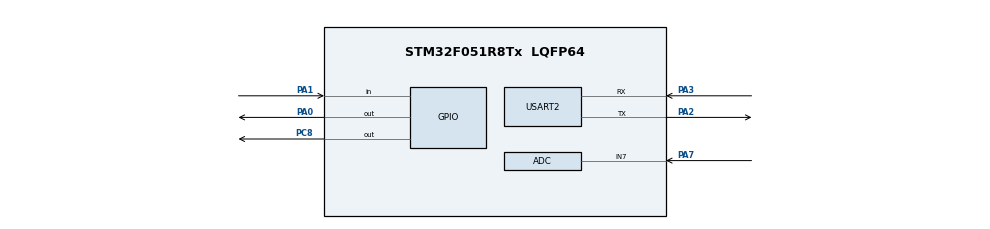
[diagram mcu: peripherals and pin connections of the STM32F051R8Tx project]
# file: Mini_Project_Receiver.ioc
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Mcu.Family=STM32F0
Mcu.Name=STM32F051R8Tx
Mcu.Package=LQFP64
PA0.Signal=GPIO_Output
PA1.GPIO_PuPd=GPIO_PULLDOWN
PA1.Signal=GPIO_Input
PA2.Mode=Asynchronous
PA2.Signal=USART2_TX
PA3.Mode=Asynchronous
PA3.Signal=USART2_RX
PA7.Mode=IN7
PA7.Signal=ADC_IN7
PC8.Signal=GPIO_Output
ProjectManager.HeapSize=0x200
ProjectManager.StackSize=0x400
ProjectManager.TargetToolchain=STM32CubeIDE
USART2.VirtualMode-Asynchronous=VM_ASYNC
board=custom

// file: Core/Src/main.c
/* USER CODE BEGIN Header */
/**
  ******************************************************************************
  * @file           : main.c
  * @brief          : Main program body
  ******************************************************************************
  * @attention
  *
  * Copyright (c) 2022 STMicroelectronics.
  * All rights reserved.
  *
  * This software is licensed under terms that can be found in the LICENSE file
  * in the root directory of this software component.
  * If no LICENSE file comes with this software, it is provided AS-IS.
  *
  ******************************************************************************
  */
/* USER CODE END Header */
#include "main.h"
#include <string.h>

/* USER CODE BEGIN PD */

#define NUM_BITS 12
#define BIT_PERIOD 1000

/* USER CODE END PD */

ADC_HandleTypeDef hadc;

UART_HandleTypeDef huart2;

void SystemClock_Config(void);
static void MX_GPIO_Init(void);
static void MX_ADC_Init(void);
static void MX_USART2_UART_Init(void);

/* USER CODE BEGIN 0 */

GPIO_PinState res;

GPIO_PinState read_pin() {
	res = HAL_GPIO_ReadPin(GPIOA, GPIO_PIN_1);
	if (res)
		HAL_GPIO_WritePin(GPIOC, GPIO_PIN_8, 1);
	else
		HAL_GPIO_WritePin(GPIOC, GPIO_PIN_8, 0);
	return res;	// Read data from PA1
}

GPIO_PinState wait_then_read_pin() {
	HAL_Delay(BIT_PERIOD);
	return read_pin();
}

/* USER CODE END 0 */

int main(void)
{

  /* MCU Configuration--------------------------------------------------------*/

  /* Reset of all peripherals, Initializes the Flash interface and the Systick. */
  HAL_Init();

  /* Configure the system clock */
  SystemClock_Config();

  /* Initialize all configured peripherals */
  MX_GPIO_Init();
  MX_ADC_Init();
  MX_USART2_UART_Init();
  /* USER CODE BEGIN 2 */

    GPIO_PinState transmit_pin;
    uint8_t start = 0;
    uint8_t counter = 0;
    char output[50];

  /* USER CODE END 2 */

  /* Infinite loop */
  while (1) {

    /* USER CODE BEGIN 3 */

      //HAL_GPIO_WritePin(GPIOA, GPIO_PIN_0, 1);    // write 1 to PA0 (For testing)

      if (read_pin() == 1)	// read for start bit
        start = 1;

      if (start) {
          start = 0;

          //uint8_t option = wait_then_read_pin();

          // read pot val
          uint16_t pot_val = 0;
          for (int i = 0; i < NUM_BITS; ++i) {
              if (wait_then_read_pin() == 1) {
                  pot_val |= 1 << i;    // add 1 to i'th index
                  sprintf(output, "1");
              } else {
                  sprintf(output, "0");
              }
              HAL_UART_Transmit(&huart2, output, strlen(output), 1000);
          }
          counter++;

          // read trans_counter
    	  int trans_counter = 0;
          for (int i = 0; i < 8; ++i)
        	  if (wait_then_read_pin() == 1)    // == GPIO_PIN_SET
        		  trans_counter |= (1 << i);    // add 1 to i'th index

          // compare counters
          if (trans_counter == counter) {
              // turn LED on for 2 seconds
              HAL_GPIO_WritePin(GPIOC, GPIO_PIN_8, 1);
              HAL_Delay(2000);
              HAL_GPIO_WritePin(GPIOC, GPIO_PIN_8, 0);
          } else {
              counter = trans_counter;
              // flash LED quickly for 2 seconds
              for (int i = 0; i < 10; ++i) {
                  HAL_GPIO_TogglePin(GPIOC, GPIO_PIN_8);
                  HAL_Delay(200);
              }
          }

          // Send output string to PC using UART
          sprintf(output, "pot value = %d\n"
                          "counter = %d\n\n", pot_val, counter);
          HAL_UART_Transmit(&huart2, output, strlen(output), 1000);
      }

  }
  /* USER CODE END 3 */
}

void SystemClock_Config(void)
{
  RCC_OscInitTypeDef RCC_OscInitStruct = {0};
  RCC_ClkInitTypeDef RCC_ClkInitStruct = {0};

  /** Initializes the RCC Oscillators according to the specified parameters
  * in the RCC_OscInitTypeDef structure.
  */
  RCC_OscInitStruct.OscillatorType = RCC_OSCILLATORTYPE_HSI|RCC_OSCILLATORTYPE_HSI14;
  RCC_OscInitStruct.HSIState = RCC_HSI_ON;
  RCC_OscInitStruct.HSI14State = RCC_HSI14_ON;
  RCC_OscInitStruct.HSICalibrationValue = RCC_HSICALIBRATION_DEFAULT;
  RCC_OscInitStruct.HSI14CalibrationValue = 16;
  RCC_OscInitStruct.PLL.PLLState = RCC_PLL_NONE;
  if (HAL_RCC_OscConfig(&RCC_OscInitStruct) != HAL_OK)
  {
    Error_Handler();
  }

  /** Initializes the CPU, AHB and APB buses clocks
  */
  RCC_ClkInitStruct.ClockType = RCC_CLOCKTYPE_HCLK|RCC_CLOCKTYPE_SYSCLK
                              |RCC_CLOCKTYPE_PCLK1;
  RCC_ClkInitStruct.SYSCLKSource = RCC_SYSCLKSOURCE_HSI;
  RCC_ClkInitStruct.AHBCLKDivider = RCC_SYSCLK_DIV1;
  RCC_ClkInitStruct.APB1CLKDivider = RCC_HCLK_DIV1;

  if (HAL_RCC_ClockConfig(&RCC_ClkInitStruct, FLASH_LATENCY_0) != HAL_OK)
  {
    Error_Handler();
  }
}

static void MX_ADC_Init(void)
{

  ADC_ChannelConfTypeDef sConfig = {0};

  /** Configure the global features of the ADC (Clock, Resolution, Data Alignment and number of conversion)
  */
  hadc.Instance = ADC1;
  hadc.Init.ClockPrescaler = ADC_CLOCK_ASYNC_DIV1;
  hadc.Init.Resolution = ADC_RESOLUTION_12B;
  hadc.Init.DataAlign = ADC_DATAALIGN_RIGHT;
  hadc.Init.ScanConvMode = ADC_SCAN_DIRECTION_FORWARD;
  hadc.Init.EOCSelection = ADC_EOC_SINGLE_CONV;
  hadc.Init.LowPowerAutoWait = DISABLE;
  hadc.Init.LowPowerAutoPowerOff = DISABLE;
  hadc.Init.ContinuousConvMode = DISABLE;
  hadc.Init.DiscontinuousConvMode = DISABLE;
  hadc.Init.ExternalTrigConv = ADC_SOFTWARE_START;
  hadc.Init.ExternalTrigConvEdge = ADC_EXTERNALTRIGCONVEDGE_NONE;
  hadc.Init.DMAContinuousRequests = DISABLE;
  hadc.Init.Overrun = ADC_OVR_DATA_PRESERVED;
  if (HAL_ADC_Init(&hadc) != HAL_OK)
  {
    Error_Handler();
  }

  /** Configure for the selected ADC regular channel to be converted.
  */
  sConfig.Channel = ADC_CHANNEL_7;
  sConfig.Rank = ADC_RANK_CHANNEL_NUMBER;
  sConfig.SamplingTime = ADC_SAMPLETIME_1CYCLE_5;
  if (HAL_ADC_ConfigChannel(&hadc, &sConfig) != HAL_OK)
  {
    Error_Handler();
  }

}

static void MX_USART2_UART_Init(void)
{

  huart2.Instance = USART2;
  huart2.Init.BaudRate = 38400;
  huart2.Init.WordLength = UART_WORDLENGTH_8B;
  huart2.Init.StopBits = UART_STOPBITS_1;
  huart2.Init.Parity = UART_PARITY_NONE;
  huart2.Init.Mode = UART_MODE_TX_RX;
  huart2.Init.HwFlowCtl = UART_HWCONTROL_NONE;
  huart2.Init.OverSampling = UART_OVERSAMPLING_16;
  huart2.Init.OneBitSampling = UART_ONE_BIT_SAMPLE_DISABLE;
  huart2.AdvancedInit.AdvFeatureInit = UART_ADVFEATURE_NO_INIT;
  if (HAL_UART_Init(&huart2) != HAL_OK)
  {
    Error_Handler();
  }

}

static void MX_GPIO_Init(void)
{
  GPIO_InitTypeDef GPIO_InitStruct = {0};

  /* GPIO Ports Clock Enable */
  __HAL_RCC_GPIOA_CLK_ENABLE();
  __HAL_RCC_GPIOC_CLK_ENABLE();

  /*Configure GPIO pin Output Level */
  HAL_GPIO_WritePin(GPIOA, GPIO_PIN_0, GPIO_PIN_RESET);

  /*Configure GPIO pin Output Level */
  HAL_GPIO_WritePin(GPIOC, GPIO_PIN_8, GPIO_PIN_RESET);

  /*Configure GPIO pin : PA0 */
  GPIO_InitStruct.Pin = GPIO_PIN_0;
  GPIO_InitStruct.Mode = GPIO_MODE_OUTPUT_PP;
  GPIO_InitStruct.Pull = GPIO_NOPULL;
  GPIO_InitStruct.Speed = GPIO_SPEED_FREQ_LOW;
  HAL_GPIO_Init(GPIOA, &GPIO_InitStruct);

  /*Configure GPIO pin : PA1 */
  GPIO_InitStruct.Pin = GPIO_PIN_1;
  GPIO_InitStruct.Mode = GPIO_MODE_INPUT;
  GPIO_InitStruct.Pull = GPIO_PULLDOWN;
  HAL_GPIO_Init(GPIOA, &GPIO_InitStruct);

  /*Configure GPIO pin : PC8 */
  GPIO_InitStruct.Pin = GPIO_PIN_8;
  GPIO_InitStruct.Mode = GPIO_MODE_OUTPUT_PP;
  GPIO_InitStruct.Pull = GPIO_NOPULL;
  GPIO_InitStruct.Speed = GPIO_SPEED_FREQ_LOW;
  HAL_GPIO_Init(GPIOC, &GPIO_InitStruct);

}

void Error_Handler(void)
{
  __disable_irq();
  while (1)
  {
  }
}
